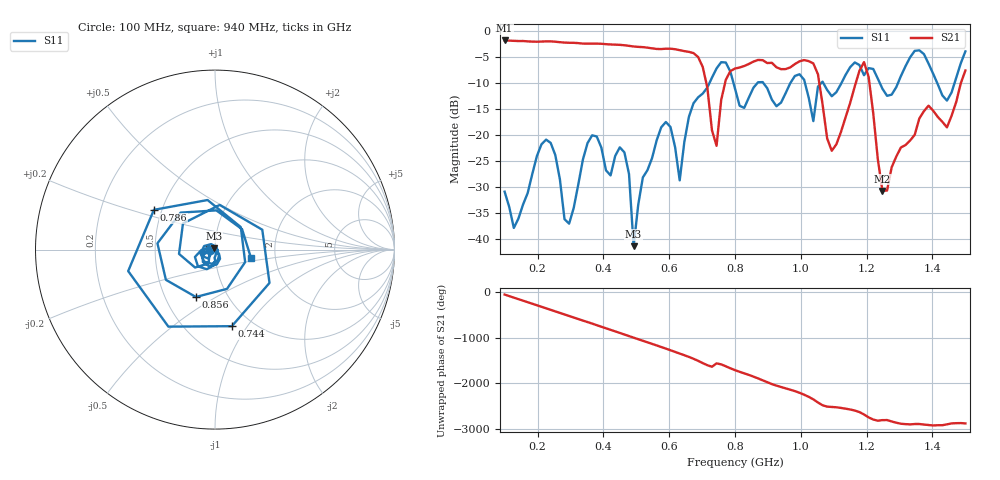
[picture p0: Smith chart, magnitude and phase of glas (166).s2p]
! NanoVNA-App
! Date: 2025-09-25 15:56:46
! Start: 100MHz Stop: 1,5GHz Points: 101
! S-Parameter data: F S11 S21 S12 S22
# Hz S RI R 50
!  Frequency  S11_Real  S11_Imag  S21_Real  S21_Imag  S12_Real  S12_Imag  S22_Real  S22_Imag
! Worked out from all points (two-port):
!   101 points, 100 MHz to 1.5 GHz, reference 50 ohm
!   highest |S21| = -1.80 dB at 100 MHz (marker M1); lowest = -30.8 dB at 1.248 GHz (marker M2)
!   |S21| within 3 dB of the highest: start of sweep to 684.4 MHz
!   lowest |S11| = -41.5 dB at 492 MHz (marker M3), VSWR 1.02, Z = 49.5 + j0.663 ohm
!   |S11| at or under -10 dB: start of sweep to 722.5 MHz; 795.4 MHz to 868.2 MHz (72.8 MHz wide, 8.75 % of centre); 886.1 MHz to 968.2 MHz (82.17 MHz wide, 8.86 % of centre) (the widest 3 of 7)
!   S12 and S22 are empty: the file has one direction only
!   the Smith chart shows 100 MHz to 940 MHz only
!   S11 on the Smith chart (normalised r, x): 100 MHz: 0.95, -0.01; 744 MHz: 0.81, -0.85; 786 MHz: 0.45, +0.24; 856 MHz: 0.71, -0.41; 940 MHz: 1.49, -0.14
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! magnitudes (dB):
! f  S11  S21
! 100 MHz  -31.0  -1.8
! 128 MHz  -37.9  -1.9
! 226 MHz  -20.9  -2.0
! 296 MHz  -37.1  -2.2
! 338 MHz  -24.7  -2.4
! 464 MHz  -23.4  -2.7
! 492 MHz  -41.5  -3.0
! 576 MHz  -18.5  -3.5
! 632 MHz  -28.8  -3.7
! 702 MHz  -12.0  -6.9
! 744 MHz  -7.2  -22.1
! 786 MHz  -7.8  -7.7
! 800 MHz  -11.1  -7.2
! 856 MHz  -10.9  -5.9
! 940 MHz  -13.8  -7.3
! 996 MHz  -8.3  -5.8
! 1.038 GHz  -17.4  -6.2
! 1.094 GHz  -12.6  -23.1
! 1.192 GHz  -8.5  -6.0
! 1.248 GHz  -11.1  -30.8
! 1.276 GHz  -12.3  -26.3
! 1.5 GHz  -3.9  -7.6
